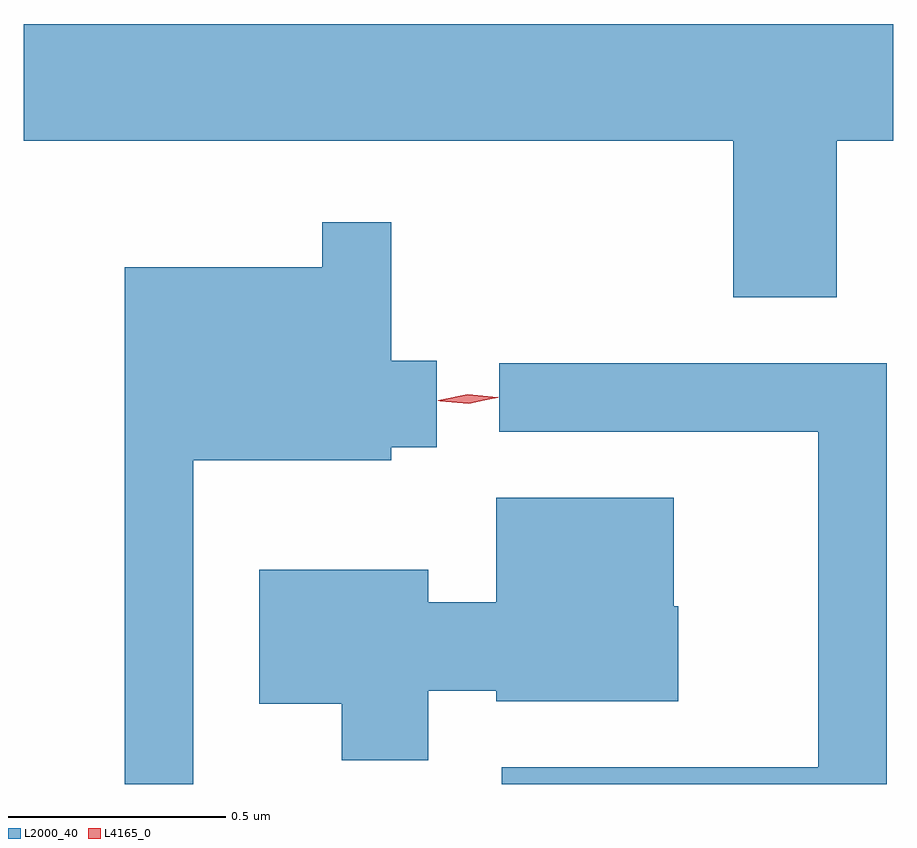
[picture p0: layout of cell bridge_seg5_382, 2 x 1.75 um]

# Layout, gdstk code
import gdstk
lib = gdstk.Library(unit=1e-6, precision=1e-09)
def P(c, l, *ps):  # polygons
    for p in ps: c.add(gdstk.Polygon(p, *l))
L2000_40 = (2000, 40)
L4165_0 = (4165, 0)

bridge_seg5_382 = lib.new_cell('bridge_seg5_382')
P(bridge_seg5_382, L2000_40, [(946.084,1452.356),(946.214,1452.356),(946.214,1452.624),(944.214,1452.624),(944.214,1452.356),(945.846,1452.356),(945.846,1451.996),(946.084,1451.996)],
  [(944.604,1451.621),(945.059,1451.621),(945.059,1451.651),(945.164,1451.651),(945.164,1451.849),(945.059,1451.849),(945.059,1452.168),(944.901,1452.168),(944.901,1452.064),(944.446,1452.064),(944.446,1450.876),(944.604,1450.876)],
  [(946.199,1451.844),(945.308,1451.844),(945.308,1451.686),(946.041,1451.686),(946.041,1450.914),(945.313,1450.914),(945.313,1450.876),(946.199,1450.876)],
  [(945.144,1451.091),(945.301,1451.091),(945.301,1451.066),(945.719,1451.066),(945.719,1451.285),(945.709,1451.285),(945.709,1451.534),(945.301,1451.534),(945.301,1451.294),(945.144,1451.294),(945.144,1451.369),(944.756,1451.369),(944.756,1451.061),(944.946,1451.061),(944.946,1450.931),(945.144,1450.931)])
P(bridge_seg5_382, L4165_0, [(945.236,1451.752),(945.167,1451.758),(945.167,1451.759),(945.167,1451.759),(945.235,1451.772),(945.304,1451.765),(945.305,1451.765),(945.304,1451.764)],
  [(945.237,1451.751),(945.172,1451.756),(945.171,1451.757),(945.172,1451.757),(945.236,1451.77),(945.301,1451.765),(945.302,1451.764),(945.301,1451.764)])

lib.write_gds('bridge_seg5_382.gds')
